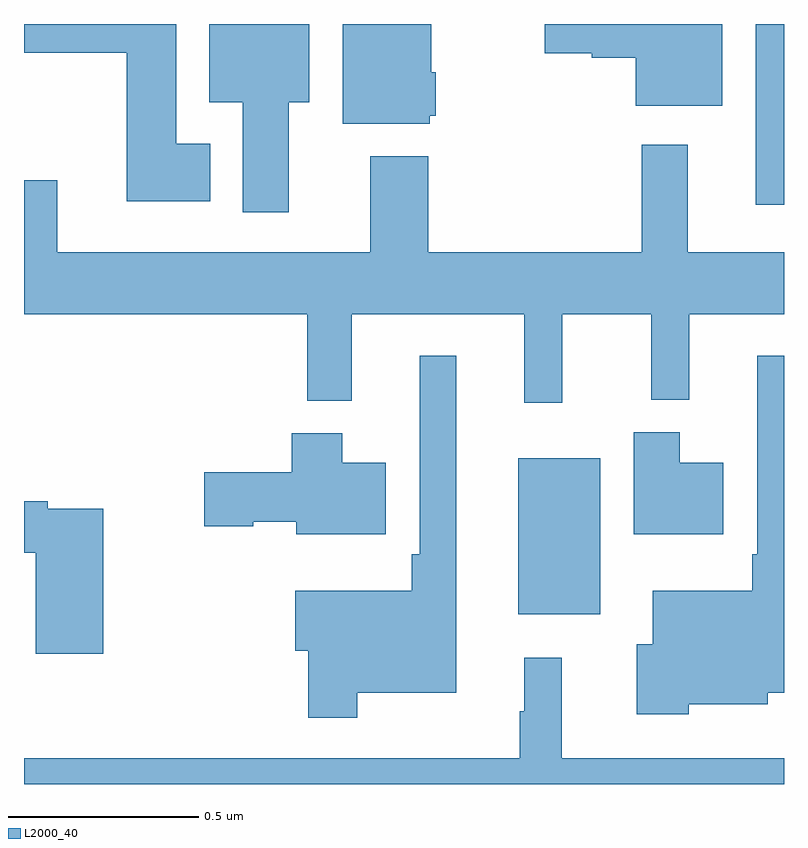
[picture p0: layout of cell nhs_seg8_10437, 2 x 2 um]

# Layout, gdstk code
import gdstk
lib = gdstk.Library(unit=1e-6, precision=1e-09)
def R(c, l, rs):  # rectangles x0, y0, x1, y1
    for r in rs: c.add(gdstk.rectangle(r[:2], r[2:], *l))
def P(c, l, *ps):  # polygons
    for p in ps: c.add(gdstk.Polygon(p, *l))
L2000_40 = (2000, 40)

nhs_seg8_10437 = lib.new_cell('nhs_seg8_10437')
R(nhs_seg8_10437, L2000_40, [(250.301,1146.347,250.516,1146.757), (250.925,1147.425,251,1147.9)])
P(nhs_seg8_10437, L2000_40, [(250.068,1147.659),(250.084,1147.659),(250.084,1147.773),(250.072,1147.773),(250.072,1147.9),(249.839,1147.9),(249.839,1147.637),(250.068,1147.637)],
  [(249.697,1147.694),(249.751,1147.694),(249.751,1147.9),(249.488,1147.9),(249.488,1147.694),(249.575,1147.694),(249.575,1147.404),(249.697,1147.404)],
  [(249.49,1147.585),(249.4,1147.585),(249.4,1147.9),(249,1147.9),(249,1147.824),(249.271,1147.824),(249.271,1147.433),(249.49,1147.433)],
  [(250.837,1147.9),(250.37,1147.9),(250.37,1147.823),(250.494,1147.823),(250.494,1147.811),(250.61,1147.811),(250.61,1147.685),(250.837,1147.685)],
  [(250.416,1147.136),(250.651,1147.136),(250.651,1146.911),(250.751,1146.911),(250.751,1147.136),(251,1147.136),(251,1147.3),(250.747,1147.3),(250.747,1147.582),(250.626,1147.582),(250.626,1147.3),(250.064,1147.3),(250.064,1147.552),(249.911,1147.552),(249.911,1147.3),(249.088,1147.3),(249.088,1147.489),(249,1147.489),(249,1147.136),(249.745,1147.136),(249.745,1146.908),(249.863,1146.908),(249.863,1147.136),(250.316,1147.136),(250.316,1146.903),(250.416,1146.903)],
  [(249.877,1146.14),(250.138,1146.14),(250.138,1147.027),(250.041,1147.027),(250.041,1146.505),(250.021,1146.505),(250.021,1146.409),(249.714,1146.409),(249.714,1146.251),(249.748,1146.251),(249.748,1146.075),(249.877,1146.075)],
  [(250.749,1146.11),(250.957,1146.11),(250.957,1146.14),(251,1146.14),(251,1147.027),(250.929,1147.027),(250.929,1146.505),(250.917,1146.505),(250.917,1146.409),(250.655,1146.409),(250.655,1146.268),(250.613,1146.268),(250.613,1146.083),(250.749,1146.083)],
  [(250.84,1146.745),(250.726,1146.745),(250.726,1146.826),(250.604,1146.826),(250.604,1146.557),(250.84,1146.557)],
  [(249.952,1146.745),(249.838,1146.745),(249.838,1146.823),(249.704,1146.823),(249.704,1146.72),(249.474,1146.72),(249.474,1146.578),(249.603,1146.578),(249.603,1146.59),(249.716,1146.59),(249.716,1146.557),(249.952,1146.557)],
  [(249.209,1146.624),(249.062,1146.624),(249.062,1146.644),(249,1146.644),(249,1146.508),(249.031,1146.508),(249.031,1146.243),(249.209,1146.243)],
  [(251,1145.968),(250.415,1145.968),(250.415,1146.232),(250.316,1146.232),(250.316,1146.092),(250.305,1146.092),(250.305,1145.968),(249,1145.968),(249,1145.9),(251,1145.9)])

lib.write_gds('nhs_seg8_10437.gds')
